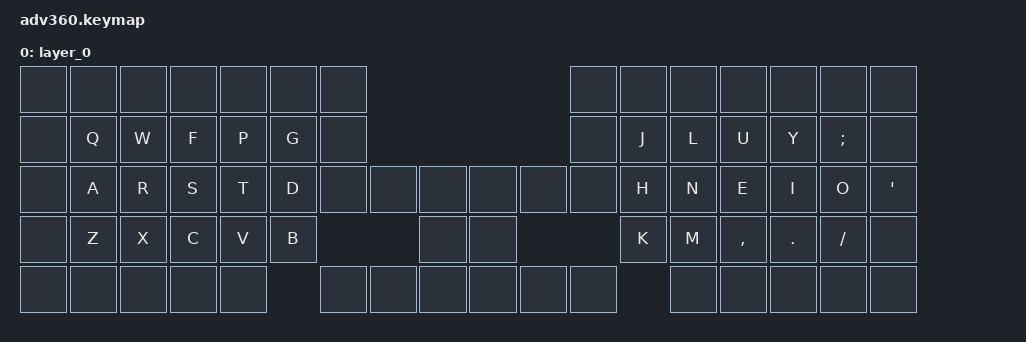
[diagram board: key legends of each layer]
#include <dt-bindings/zmk/stp.h>
#include <behaviors.dtsi>
#include <dt-bindings/zmk/keys.h>

/ {
    behaviors {
        #include "macros.dtsi"
      #include "version.dtsi"

        hm: homerow_mods {
            compatible = "zmk,behavior-hold-tap";
            label = "HOMEROW_MODS";
            #binding-cells = <2>;
            tapping-term-ms = <200>;
            quick_tap_ms = <175>;
            flavor = "tap-preferred";
            bindings = <&kp>, <&kp>;
        };
    };

    macros {
        test: test {
            compatible = "zmk,behavior-macro";
            #binding-cells = <0>;
            bindings = <&kp T &kp E &kp S &kp T>;
            label = "TEST";
        };
    };

    keymap {
        compatible = "zmk,keymap";

        layer_0 {
            bindings = <
&none  &none  &none  &none  &none  &none  &none                                  &none  &none  &none  &none      &none       &none          &none
&none  &kp Q  &kp W  &kp F  &kp P  &kp G  &none                                  &none  &kp J  &kp L  &kp U      &kp Y       &kp SEMICOLON  &none
&none  &kp A  &kp R  &kp S  &kp T  &kp D  &none  &none  &none      &none  &none  &none  &kp H  &kp N  &kp E      &kp I       &kp O          &kp SQT
&none  &kp Z  &kp X  &kp C  &kp V  &kp B                &none      &none                &kp K  &kp M  &kp COMMA  &kp PERIOD  &kp SLASH      &none
&none  &none  &none  &none  &none         &none  &none  &none      &none  &none  &none         &none  &none      &none       &none          &none
            >;
        };
    };
};
